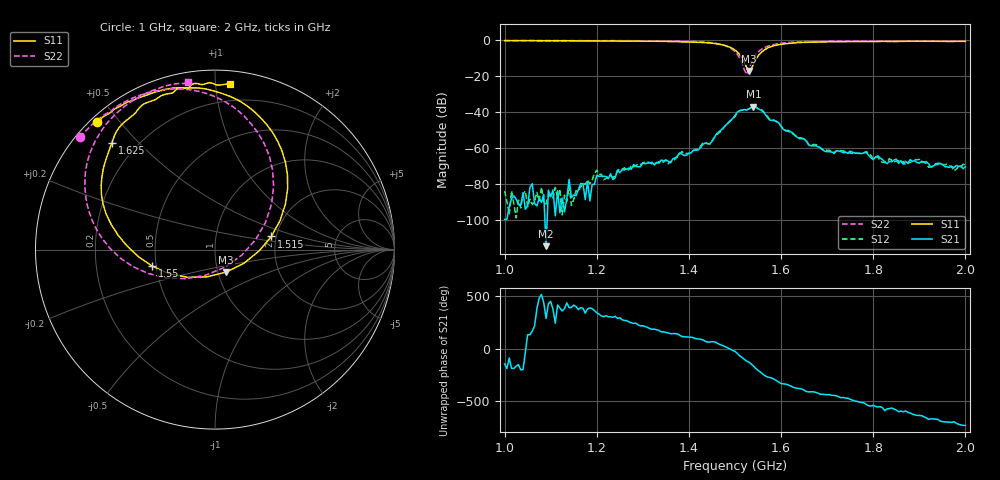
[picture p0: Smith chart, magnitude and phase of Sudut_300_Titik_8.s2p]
# Hz S RI R 50
! CMT, C1220, 16058040, 17.2.0/1
! Date: 14/08/2018 12:08:50
! Data: Format (Calibration Info)
! Freq  S11: Re/Im (F2)  S21: Re/Im (F2)  S12: Re/Im (F2)  S22: Re/Im (F2)
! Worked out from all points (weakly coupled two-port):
!   201 points, 1 GHz to 2 GHz, reference 50 ohm
!   highest |S21| = -36.94 dB at 1.54 GHz (marker M1); lowest = -114.5 dB at 1.09 GHz (marker M2)
!   lowest |S11| = -17.1 dB at 1.53 GHz (marker M3), VSWR 1.33, Z = 54.8 - j14 ohm
!   |S11| at or under -10 dB: 1.515 GHz to 1.547 GHz (31.57 MHz wide, 2.06 % of centre)
!   |S22| runs from -19.0 to -0.2 dB; largest |S21 - S12| = 0.00058
!   S11 on the Smith chart (normalised r, x): 1 GHz: 0.02, +0.44; 1.515 GHz: 1.88, +0.31; 1.55 GHz: 0.47, -0.10; 1.625 GHz: 0.11, +0.42; 2 GHz: 0.09, +1.09
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1e9  -0.6547 0.7098  -8.45e-06 -6.01e-06  -4.39e-05 4.75e-05  -0.7534 0.6258
1.09e9  -0.5701 0.7747  5.61e-07 -1.8e-06  -7.78e-06 2.68e-05  -0.688 0.6931
1.17e9  -0.4872 0.8218  9.43e-05 4.12e-05  9.79e-05 4.25e-05  -0.6161 0.7516
1.185e9  -0.4636 0.8309  3.08e-05 1.45e-05  9.84e-05 2.51e-05  -0.5989 0.7609
1.195e9  -0.4505 0.8357  9.93e-05 2.18e-06  0.000201 5.46e-06  -0.5867 0.7649
1.2e9  -0.4458 0.8369  0.000166 -5.76e-05  0.000222 -0.000103  -0.5822 0.7652
1.215e9  -0.4324 0.843  9.13e-05 -0.000137  0.000106 -7.87e-05  -0.5753 0.7735
1.25e9  -0.3703 0.8647  8.06e-05 -0.000192  7.35e-05 -0.000259  -0.5355 0.8048
1.335e9  -0.2301 0.9003  -0.00038 4.92e-05  -0.000422 5.91e-05  -0.3995 0.8663
1.445e9  0.146 0.8227  0.000591 0.00116  0.000623 0.00113  -0.00693 0.855
1.5e9  0.4045 0.3384  0.00722 -0.00349  0.00678 -0.00331  0.3266 0.3507
1.515e9  0.3141 0.0735  0.00125 -0.0112  0.00162 -0.0112  0.2262 0.0556
1.525e9  0.1615 -0.0761  -0.00511 -0.0101  -0.00514 -0.0103  0.0539 -0.0988
1.53e9  0.0623 -0.1253  -0.00736 -0.00971  -0.00741 -0.00982  -0.0541 -0.1433
1.54e9  -0.1529 -0.1543  -0.0137 -0.00386  -0.0136 -0.00388  -0.2749 -0.158
1.55e9  -0.3507 -0.0919  -0.0112 0.00527  -0.0114 0.00483  -0.4563 -0.0952
1.58e9  -0.6243 0.2551  0.000794 0.00582  0.00107 0.00601  -0.7028 0.2139
1.625e9  -0.5739 0.5958  0.00264 -0.000167  0.00249 -2.72e-06  -0.702 0.5207
1.67e9  -0.4632 0.744  0.000756 -0.000859  0.000849 -0.000938  -0.6251 0.6731
1.835e9  -0.1613 0.8997  -0.000379 0.000196  -0.000458 0.000227  -0.375 0.8748
1.975e9  0.0459 0.9194  0.000248 0.000137  0.000228 5.54e-05  -0.1782 0.9246
2e9  0.0853 0.9214  0.000299 -3.85e-05  0.000323 -7.22e-05  -0.1505 0.9337
